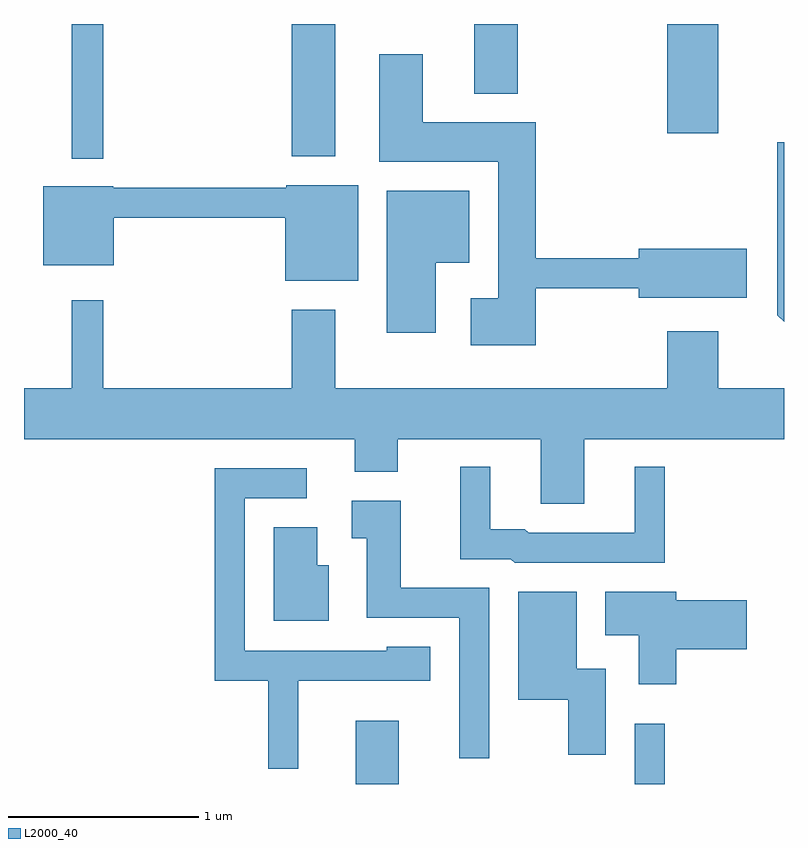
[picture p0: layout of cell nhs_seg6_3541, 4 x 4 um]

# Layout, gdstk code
import gdstk
lib = gdstk.Library(unit=1e-6, precision=1e-09)
def R(c, l, rs):  # rectangles x0, y0, x1, y1
    for r in rs: c.add(gdstk.rectangle(r[:2], r[2:], *l))
def P(c, l, *ps):  # polygons
    for p in ps: c.add(gdstk.Polygon(p, *l))
L2000_40 = (2000, 40)

nhs_seg6_3541 = lib.new_cell('nhs_seg6_3541')
R(nhs_seg6_3541, L2000_40, [(293.356,1608.162,293.584,1608.494), (294.826,1608.162,294.984,1608.478), (291.861,1611.453,292.029,1612.162), (293.021,1611.466,293.249,1612.162), (294.996,1611.586,295.264,1612.162), (293.981,1611.796,294.209,1612.162)])
P(nhs_seg6_3541, L2000_40, [(294.304,1610.771),(294.846,1610.771),(294.846,1610.721),(295.414,1610.721),(295.414,1610.979),(294.846,1610.979),(294.846,1610.929),(294.304,1610.929),(294.304,1611.644),(293.709,1611.644),(293.709,1612.004),(293.481,1612.004),(293.481,1611.436),(294.106,1611.436),(294.106,1610.719),(293.961,1610.719),(293.961,1610.471),(294.304,1610.471)],
  [(295.611,1611.539),(295.576,1611.539),(295.576,1610.629),(295.611,1610.594)],
  [(293.369,1611.314),(292.99,1611.314),(292.99,1611.299),(292.08,1611.299),(292.08,1611.309),(291.711,1611.309),(291.711,1610.891),(292.084,1610.891),(292.084,1611.141),(292.986,1611.141),(292.986,1610.811),(293.369,1610.811)],
  [(293.779,1610.906),(293.954,1610.906),(293.954,1611.284),(293.521,1611.284),(293.521,1610.536),(293.779,1610.536)],
  [(294.559,1609.976),(295.611,1609.976),(295.611,1610.244),(295.264,1610.244),(295.264,1610.544),(294.996,1610.544),(294.996,1610.244),(293.249,1610.244),(293.249,1610.659),(293.021,1610.659),(293.021,1610.244),(292.029,1610.244),(292.029,1610.708),(291.861,1610.708),(291.861,1610.244),(291.611,1610.244),(291.611,1609.976),(293.351,1609.976),(293.351,1609.806),(293.579,1609.806),(293.579,1609.976),(294.331,1609.976),(294.331,1609.636),(294.559,1609.636)],
  [(294.984,1609.833),(294.826,1609.833),(294.826,1609.484),(294.267,1609.484),(294.247,1609.504),(294.064,1609.504),(294.064,1609.833),(293.906,1609.833),(293.906,1609.346),(294.174,1609.346),(294.194,1609.326),(294.984,1609.326)],
  [(293.054,1608.706),(293.749,1608.706),(293.749,1608.884),(293.521,1608.884),(293.521,1608.864),(292.774,1608.864),(292.774,1609.666),(293.098,1609.666),(293.098,1609.824),(292.616,1609.824),(292.616,1608.706),(292.896,1608.706),(292.896,1608.243),(293.054,1608.243)],
  [(294.059,1609.194),(293.594,1609.194),(293.594,1609.654),(293.336,1609.654),(293.336,1609.456),(293.416,1609.456),(293.416,1609.036),(293.901,1609.036),(293.901,1608.298),(294.059,1608.298)],
  [(293.214,1609.314),(293.154,1609.314),(293.154,1609.514),(292.926,1609.514),(292.926,1609.021),(293.214,1609.021)],
  [(295.044,1608.871),(295.414,1608.871),(295.414,1609.129),(295.044,1609.129),(295.044,1609.174),(294.671,1609.174),(294.671,1608.946),(294.846,1608.946),(294.846,1608.686),(295.044,1608.686)],
  [(294.674,1608.769),(294.519,1608.769),(294.519,1609.174),(294.211,1609.174),(294.211,1608.606),(294.476,1608.606),(294.476,1608.316),(294.674,1608.316)])

lib.write_gds('nhs_seg6_3541.gds')
